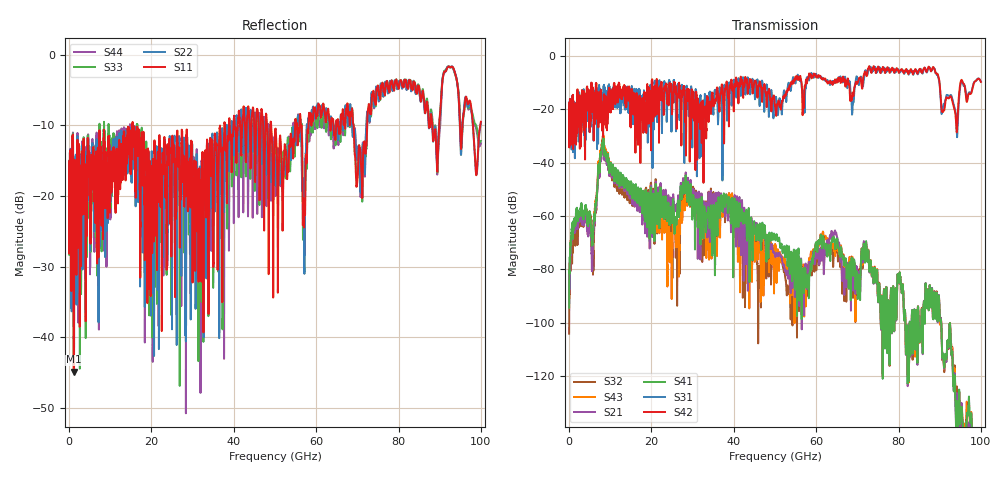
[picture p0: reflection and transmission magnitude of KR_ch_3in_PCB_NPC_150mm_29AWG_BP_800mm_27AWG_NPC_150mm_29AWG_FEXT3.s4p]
# GHz S RI R 45
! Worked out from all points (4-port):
!   4000 points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, 25 MHz to 100 GHz, reference 45 ohm
!   strongest paths, dB at 25 MHz, 25.02 GHz, 50.02 GHz, 75.03 GHz, 100 GHz:
!     S42: -22.2, -20.8, -18.7, -4.1, -9.8
!     S31: -22.2, -13.2, -15.5, -5.0, -9.6
!     S41: -94.2, -59.3, -68.6, -91.1, -141.5
!     S21: -93.9, -56.3, -75.1, -91.2, -146.5
!     S43: -93.8, -69.6, -70.4, -90.9, -149.1
!     S32: -104.0, -75.9, -74.3, -91.1, -148.6
!   lowest |S11| = -44.9 dB at 1.15 GHz (marker M1), VSWR 1.01, Z = 45.4 + j0.28 ohm
!   |S11| at or under -10 dB: start of sweep to 15.35 GHz; 15.47 GHz to 37.72 GHz (22.25 GHz wide, 83.7 % of centre); 49.08 GHz to 54.9 GHz (5.813 GHz wide, 11.2 % of centre)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
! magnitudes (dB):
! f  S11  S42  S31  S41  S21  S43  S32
! 25 MHz  -17.4  -22.2  -22.2  -94.2  -93.9  -93.8  -104.0
! 1.15 GHz  -44.9  -24.7  -27.3  -62.1  -63.8  -62.8  -66.2
! 5.75 GHz  -14.6  -14.2  -16.1  -67.6  -74.2  -67.3  -73.5
! 8.4 GHz  -11.7  -16.9  -11.2  -32.8  -34.6  -31.6  -33.1
! 24.7 GHz  -17.9  -12.4  -14.1  -57.4  -53.3  -68.7  -62.7
! 38.62 GHz  -11.6  -15.7  -15.8  -57.5  -60.7  -54.3  -55.7
! 100 GHz  -9.5  -9.8  -9.6  -141.5  -146.5  -149.1  -148.6
